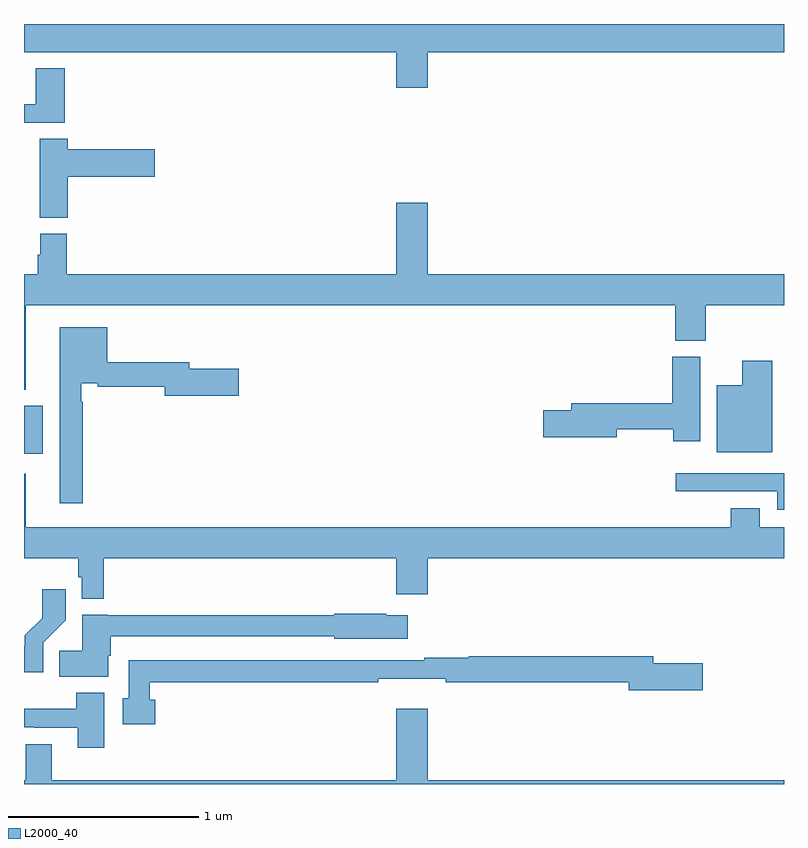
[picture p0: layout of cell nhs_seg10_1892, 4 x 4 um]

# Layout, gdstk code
import gdstk
lib = gdstk.Library(unit=1e-6, precision=1e-09)
def R(c, l, rs):  # rectangles x0, y0, x1, y1
    for r in rs: c.add(gdstk.rectangle(r[:2], r[2:], *l))
def P(c, l, *ps):  # polygons
    for p in ps: c.add(gdstk.Polygon(p, *l))
L2000_40 = (2000, 40)

nhs_seg10_1892 = lib.new_cell('nhs_seg10_1892')
R(nhs_seg10_1892, L2000_40, [(211,1262.237,211.099,1262.491)])
P(nhs_seg10_1892, L2000_40, [(213.124,1264.352),(215,1264.352),(215,1264.5),(211,1264.5),(211,1264.352),(212.96,1264.352),(212.96,1264.164),(213.124,1264.164)],
  [(211.214,1264.267),(211.061,1264.267),(211.061,1264.077),(211,1264.077),(211,1263.981),(211.214,1263.981)],
  [(211.229,1263.695),(211.687,1263.695),(211.687,1263.842),(211.229,1263.842),(211.229,1263.896),(211.082,1263.896),(211.082,1263.481),(211.229,1263.481)],
  [(213.124,1263.559),(212.96,1263.559),(212.96,1263.184),(211.226,1263.184),(211.226,1263.396),(211.085,1263.396),(211.085,1263.285),(211.073,1263.285),(211.073,1263.184),(211,1263.184),(211,1262.576),(211.009,1262.576),(211.009,1263.02),(214.427,1263.02),(214.427,1262.833),(214.587,1262.833),(214.587,1263.02),(215,1263.02),(215,1263.184),(213.124,1263.184)],
  [(211.309,1262.513),(211.301,1262.513),(211.301,1262.61),(211.387,1262.61),(211.387,1262.59),(211.742,1262.59),(211.742,1262.543),(212.131,1262.543),(212.131,1262.685),(211.87,1262.685),(211.87,1262.719),(211.438,1262.719),(211.438,1262.905),(211.187,1262.905),(211.187,1261.977),(211.309,1261.977)],
  [(214.558,1262.748),(214.412,1262.748),(214.412,1262.504),(213.881,1262.504),(213.881,1262.468),(213.732,1262.468),(213.732,1262.326),(214.12,1262.326),(214.12,1262.368),(214.417,1262.368),(214.417,1262.304),(214.558,1262.304)],
  [(214.939,1262.728),(214.781,1262.728),(214.781,1262.599),(214.646,1262.599),(214.646,1262.246),(214.939,1262.246)],
  [(215,1262.136),(214.431,1262.136),(214.431,1262.04),(214.965,1262.04),(214.965,1261.944),(215,1261.944)],
  [(211.421,1261.688),(212.96,1261.688),(212.96,1261.5),(213.124,1261.5),(213.124,1261.688),(215,1261.688),(215,1261.852),(214.873,1261.852),(214.873,1261.951),(214.721,1261.951),(214.721,1261.852),(211.009,1261.852),(211.009,1262.134),(211,1262.134),(211,1261.688),(211.285,1261.688),(211.285,1261.587),(211.305,1261.587),(211.305,1261.475),(211.421,1261.475)],
  [(211.101,1261.243),(211.22,1261.362),(211.22,1261.525),(211.095,1261.525),(211.095,1261.373),(211.004,1261.283),(211.004,1261.228),(211,1261.228),(211,1261.088),(211.101,1261.088)],
  [(211.444,1261.175),(211.457,1261.175),(211.457,1261.278),(212.634,1261.278),(212.634,1261.265),(213.019,1261.265),(213.019,1261.387),(212.906,1261.387),(212.906,1261.395),(212.634,1261.395),(212.634,1261.387),(211.44,1261.387),(211.44,1261.39),(211.307,1261.39),(211.307,1261.202),(211.186,1261.202),(211.186,1261.064),(211.444,1261.064)],
  [(211.691,1260.943),(211.663,1260.943),(211.663,1261.036),(212.864,1261.036),(212.864,1261.055),(213.22,1261.055),(213.22,1261.036),(214.184,1261.036),(214.184,1260.994),(214.573,1260.994),(214.573,1261.136),(214.312,1261.136),(214.312,1261.172),(213.34,1261.172),(213.34,1261.165),(213.106,1261.165),(213.106,1261.152),(211.551,1261.152),(211.551,1260.951),(211.52,1260.951),(211.52,1260.814),(211.691,1260.814)],
  [(211.423,1260.979),(211.276,1260.979),(211.276,1260.895),(211,1260.895),(211,1260.798),(211.054,1260.798),(211.054,1260.795),(211.283,1260.795),(211.283,1260.69),(211.423,1260.69)],
  [(215,1260.52),(213.124,1260.52),(213.124,1260.895),(212.96,1260.895),(212.96,1260.52),(211.147,1260.52),(211.147,1260.71),(211.008,1260.71),(211.008,1260.52),(211,1260.52),(211,1260.5),(215,1260.5)])

lib.write_gds('nhs_seg10_1892.gds')
